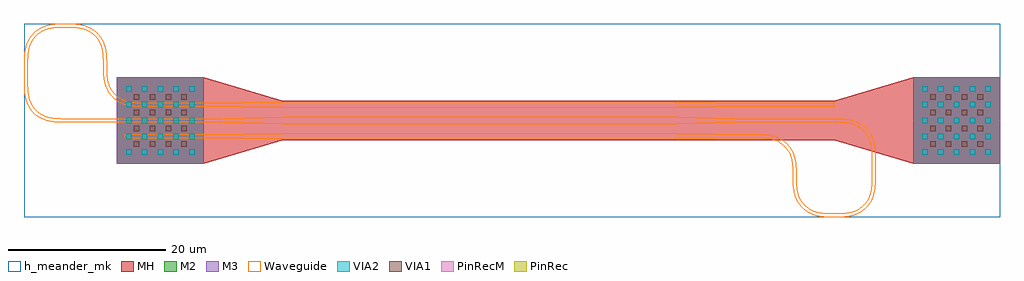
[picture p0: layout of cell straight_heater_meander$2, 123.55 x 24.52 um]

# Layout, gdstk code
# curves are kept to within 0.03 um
import gdstk
lib = gdstk.Library(unit=1e-6, precision=1e-09)
def R(c, l, rs):  # rectangles x0, y0, x1, y1
    for r in rs: c.add(gdstk.rectangle(r[:2], r[2:], *l))
def P(c, l, *ps):  # polygons
    for p in ps: c.add(gdstk.Polygon(p, *l))
Waveguide = (1, 0)
PinRec = (1, 10)
PinRecM = (1, 11)
VIA2 = (43, 0)
VIA1 = (44, 0)
M2 = (45, 0)
MH = (47, 0)
h_meander_mk = (47, 4)
M3 = (49, 0)

straight_heater_meander_ = lib.new_cell('straight_heater_meander$2')
R(straight_heater_meander_, Waveguide, [(69.788,-10.26,69.798,-9.76), (69.788,-10.26,69.798,-9.76), (69.788,-10.26,69.798,-9.76), (64.538,-5.01,65.038,-5), (64.538,-5.01,65.038,-5), (64.538,-5.01,65.038,-5), (74.548,-5.01,75.048,-3), (74.548,-5.01,75.048,-3), (74.548,-5.01,75.048,-3), (0,-0.4,49.778,0.4), (0,-0.4,49.778,0.4), (0,-0.4,49.778,0.4), (-20,-0.25,-10,0.25), (-20,-0.25,-10,0.25), (-20,-0.25,-10,0.25), (59.778,-0.25,59.788,0.25), (59.778,-0.25,59.788,0.25), (59.778,-0.25,59.788,0.25), (0,1.55,49.778,2.45), (0,1.55,49.778,2.45), (0,1.55,49.778,2.45), (-27.52,1.75,-17.5,2.25), (-27.52,1.75,-17.5,2.25), (-27.52,1.75,-17.5,2.25), (-17.5,1.75,-10,2.25), (-17.5,1.75,-10,2.25), (-17.5,1.75,-10,2.25), (59.778,1.75,69.798,2.25), (59.778,1.75,69.798,2.25), (59.778,1.75,69.798,2.25), (0,3.6,49.778,4.4), (0,3.6,49.778,4.4), (0,3.6,49.778,4.4), (-17.51,3.75,-17.5,4.25), (-17.51,3.75,-17.5,4.25), (-17.51,3.75,-17.5,4.25), (-17.5,3.75,-10,4.25), (-17.5,3.75,-10,4.25), (-17.5,3.75,-10,4.25), (59.778,3.75,69.778,4.25), (59.778,3.75,69.778,4.25), (59.778,3.75,69.778,4.25), (-32.77,7,-32.27,9.01), (-32.77,7,-32.27,9.01), (-32.77,7,-32.27,9.01), (-22.76,9,-22.26,9.01), (-22.76,9,-22.26,9.01), (-22.76,9,-22.26,9.01), (-27.52,13.76,-27.51,14.26), (-27.52,13.76,-27.51,14.26), (-27.52,13.76,-27.51,14.26)])
P(straight_heater_meander_, Waveguide, [(0,-0.4),(-10,-0.25),(-10,0.25),(0,0.4)],
  [(49.778,-0.4),(49.778,0.4),(59.778,0.25),(59.778,-0.25)],
  [(0,1.55),(-10,1.75),(-10,2.25),(0,2.45)],
  [(49.778,1.55),(49.778,2.45),(59.778,2.25),(59.778,1.75)],
  [(0,3.6),(-10,3.75),(-10,4.25),(0,4.4)],
  [(49.778,3.6),(49.778,4.4),(59.778,4.25),(59.778,3.75)],
  [(-27.798,1.75),(-29.073,1.812),(-30.068,2.025),(-30.497,2.194),(-30.931,2.432),(-31.573,2.947),(-31.899,3.319),(-32.174,3.73),(-32.538,4.592),(-32.724,5.591),(-32.77,7),(-32.27,7),(-32.238,5.773),(-32.093,4.858),(-31.809,4.106),(-31.318,3.405),(-30.661,2.854),(-30.285,2.648),(-29.788,2.462),(-28.881,2.294),(-27.52,2.25),(-27.52,1.75)],
  [(-32.77,9.01),(-32.724,10.419),(-32.538,11.418),(-32.174,12.28),(-31.899,12.691),(-31.573,13.063),(-31.201,13.389),(-30.79,13.664),(-29.928,14.028),(-28.929,14.214),(-27.52,14.26),(-27.52,13.76),(-28.881,13.716),(-29.788,13.548),(-30.54,13.23),(-31.219,12.709),(-31.74,12.03),(-32.058,11.278),(-32.226,10.371),(-32.27,9.01)],
  [(-22.76,9.01),(-22.792,10.237),(-22.937,11.152),(-23.221,11.904),(-23.712,12.605),(-24.369,13.156),(-24.745,13.362),(-25.242,13.548),(-26.149,13.716),(-27.51,13.76),(-27.51,14.26),(-26.101,14.214),(-25.527,14.131),(-24.962,13.985),(-24.533,13.816),(-24.099,13.578),(-23.7,13.285),(-23.344,12.943),(-22.942,12.421),(-22.704,11.987),(-22.492,11.418),(-22.34,10.705),(-22.276,9.992),(-22.26,9.01)],
  [(-17.788,3.75),(-19.063,3.812),(-20.058,4.025),(-20.487,4.194),(-20.921,4.432),(-21.563,4.947),(-21.889,5.319),(-22.164,5.73),(-22.528,6.592),(-22.714,7.591),(-22.76,9),(-22.26,9),(-22.228,7.773),(-22.083,6.858),(-21.799,6.106),(-21.308,5.405),(-20.651,4.854),(-20.275,4.648),(-19.778,4.462),(-18.871,4.294),(-17.51,4.25),(-17.51,3.75)],
  [(74.548,-3),(74.516,-1.773),(74.371,-0.858),(74.087,-0.106),(73.596,0.595),(72.939,1.146),(72.563,1.352),(72.066,1.538),(71.159,1.706),(69.798,1.75),(69.798,2.25),(71.207,2.204),(71.781,2.121),(72.346,1.975),(72.775,1.806),(73.209,1.568),(73.608,1.275),(73.964,0.933),(74.366,0.411),(74.604,-0.023),(74.816,-0.592),(74.968,-1.305),(75.032,-2.018),(75.048,-3)],
  [(69.798,-10.26),(69.798,-9.76),(71.159,-9.716),(72.066,-9.548),(72.818,-9.23),(73.497,-8.709),(74.018,-8.03),(74.336,-7.278),(74.504,-6.371),(74.548,-5.01),(75.048,-5.01),(75.002,-6.419),(74.816,-7.418),(74.452,-8.28),(74.177,-8.691),(73.851,-9.063),(73.479,-9.389),(73.068,-9.664),(72.206,-10.028),(71.207,-10.214)],
  [(69.51,-10.26),(68.235,-10.198),(67.24,-9.985),(66.811,-9.816),(66.377,-9.578),(65.735,-9.063),(65.409,-8.691),(65.134,-8.28),(64.77,-7.418),(64.584,-6.419),(64.538,-5.01),(65.038,-5.01),(65.07,-6.237),(65.215,-7.152),(65.499,-7.904),(65.99,-8.605),(66.647,-9.156),(67.023,-9.362),(67.52,-9.548),(68.427,-9.716),(69.788,-9.76),(69.788,-10.26)],
  [(64.538,-5),(64.506,-3.773),(64.361,-2.858),(64.077,-2.106),(63.586,-1.405),(62.929,-0.854),(62.553,-0.648),(62.056,-0.462),(61.149,-0.294),(59.788,-0.25),(59.788,0.25),(61.197,0.204),(61.771,0.121),(62.336,-0.025),(62.765,-0.194),(63.199,-0.432),(63.598,-0.725),(63.954,-1.067),(64.356,-1.589),(64.594,-2.023),(64.806,-2.592),(64.958,-3.305),(65.022,-4.018),(65.038,-5)],
  [(0,-0.4),(-10,-0.25),(-10,0.25),(0,0.4)],
  [(49.778,-0.4),(49.778,0.4),(59.778,0.25),(59.778,-0.25)],
  [(0,1.55),(-10,1.75),(-10,2.25),(0,2.45)],
  [(49.778,1.55),(49.778,2.45),(59.778,2.25),(59.778,1.75)],
  [(0,3.6),(-10,3.75),(-10,4.25),(0,4.4)],
  [(49.778,3.6),(49.778,4.4),(59.778,4.25),(59.778,3.75)],
  [(-27.798,1.75),(-29.073,1.812),(-30.068,2.025),(-30.497,2.194),(-30.931,2.432),(-31.573,2.947),(-31.899,3.319),(-32.174,3.73),(-32.538,4.592),(-32.724,5.591),(-32.77,7),(-32.27,7),(-32.238,5.773),(-32.093,4.858),(-31.809,4.106),(-31.318,3.405),(-30.661,2.854),(-30.285,2.648),(-29.788,2.462),(-28.881,2.294),(-27.52,2.25),(-27.52,1.75)],
  [(-32.77,9.01),(-32.724,10.419),(-32.538,11.418),(-32.174,12.28),(-31.899,12.691),(-31.573,13.063),(-31.201,13.389),(-30.79,13.664),(-29.928,14.028),(-28.929,14.214),(-27.52,14.26),(-27.52,13.76),(-28.881,13.716),(-29.788,13.548),(-30.54,13.23),(-31.219,12.709),(-31.74,12.03),(-32.058,11.278),(-32.226,10.371),(-32.27,9.01)],
  [(-22.76,9.01),(-22.792,10.237),(-22.937,11.152),(-23.221,11.904),(-23.712,12.605),(-24.369,13.156),(-24.745,13.362),(-25.242,13.548),(-26.149,13.716),(-27.51,13.76),(-27.51,14.26),(-26.101,14.214),(-25.527,14.131),(-24.962,13.985),(-24.533,13.816),(-24.099,13.578),(-23.7,13.285),(-23.344,12.943),(-22.942,12.421),(-22.704,11.987),(-22.492,11.418),(-22.34,10.705),(-22.276,9.992),(-22.26,9.01)],
  [(-17.788,3.75),(-19.063,3.812),(-20.058,4.025),(-20.487,4.194),(-20.921,4.432),(-21.563,4.947),(-21.889,5.319),(-22.164,5.73),(-22.528,6.592),(-22.714,7.591),(-22.76,9),(-22.26,9),(-22.228,7.773),(-22.083,6.858),(-21.799,6.106),(-21.308,5.405),(-20.651,4.854),(-20.275,4.648),(-19.778,4.462),(-18.871,4.294),(-17.51,4.25),(-17.51,3.75)],
  [(74.548,-3),(74.516,-1.773),(74.371,-0.858),(74.087,-0.106),(73.596,0.595),(72.939,1.146),(72.563,1.352),(72.066,1.538),(71.159,1.706),(69.798,1.75),(69.798,2.25),(71.207,2.204),(71.781,2.121),(72.346,1.975),(72.775,1.806),(73.209,1.568),(73.608,1.275),(73.964,0.933),(74.366,0.411),(74.604,-0.023),(74.816,-0.592),(74.968,-1.305),(75.032,-2.018),(75.048,-3)],
  [(69.798,-10.26),(69.798,-9.76),(71.159,-9.716),(72.066,-9.548),(72.818,-9.23),(73.497,-8.709),(74.018,-8.03),(74.336,-7.278),(74.504,-6.371),(74.548,-5.01),(75.048,-5.01),(75.002,-6.419),(74.816,-7.418),(74.452,-8.28),(74.177,-8.691),(73.851,-9.063),(73.479,-9.389),(73.068,-9.664),(72.206,-10.028),(71.207,-10.214)],
  [(69.51,-10.26),(68.235,-10.198),(67.24,-9.985),(66.811,-9.816),(66.377,-9.578),(65.735,-9.063),(65.409,-8.691),(65.134,-8.28),(64.77,-7.418),(64.584,-6.419),(64.538,-5.01),(65.038,-5.01),(65.07,-6.237),(65.215,-7.152),(65.499,-7.904),(65.99,-8.605),(66.647,-9.156),(67.023,-9.362),(67.52,-9.548),(68.427,-9.716),(69.788,-9.76),(69.788,-10.26)],
  [(64.538,-5),(64.506,-3.773),(64.361,-2.858),(64.077,-2.106),(63.586,-1.405),(62.929,-0.854),(62.553,-0.648),(62.056,-0.462),(61.149,-0.294),(59.788,-0.25),(59.788,0.25),(61.197,0.204),(61.771,0.121),(62.336,-0.025),(62.765,-0.194),(63.199,-0.432),(63.598,-0.725),(63.954,-1.067),(64.356,-1.589),(64.594,-2.023),(64.806,-2.592),(64.958,-3.305),(65.022,-4.018),(65.038,-5)],
  [(0,-0.4),(-10,-0.25),(-10,0.25),(0,0.4)],
  [(49.778,-0.4),(49.778,0.4),(59.778,0.25),(59.778,-0.25)],
  [(0,1.55),(-10,1.75),(-10,2.25),(0,2.45)],
  [(49.778,1.55),(49.778,2.45),(59.778,2.25),(59.778,1.75)],
  [(0,3.6),(-10,3.75),(-10,4.25),(0,4.4)],
  [(49.778,3.6),(49.778,4.4),(59.778,4.25),(59.778,3.75)],
  [(-27.798,1.75),(-29.073,1.812),(-30.068,2.025),(-30.497,2.194),(-30.931,2.432),(-31.573,2.947),(-31.899,3.319),(-32.174,3.73),(-32.538,4.592),(-32.724,5.591),(-32.77,7),(-32.27,7),(-32.238,5.773),(-32.093,4.858),(-31.809,4.106),(-31.318,3.405),(-30.661,2.854),(-30.285,2.648),(-29.788,2.462),(-28.881,2.294),(-27.52,2.25),(-27.52,1.75)],
  [(-32.77,9.01),(-32.724,10.419),(-32.538,11.418),(-32.174,12.28),(-31.899,12.691),(-31.573,13.063),(-31.201,13.389),(-30.79,13.664),(-29.928,14.028),(-28.929,14.214),(-27.52,14.26),(-27.52,13.76),(-28.881,13.716),(-29.788,13.548),(-30.54,13.23),(-31.219,12.709),(-31.74,12.03),(-32.058,11.278),(-32.226,10.371),(-32.27,9.01)],
  [(-22.76,9.01),(-22.792,10.237),(-22.937,11.152),(-23.221,11.904),(-23.712,12.605),(-24.369,13.156),(-24.745,13.362),(-25.242,13.548),(-26.149,13.716),(-27.51,13.76),(-27.51,14.26),(-26.101,14.214),(-25.527,14.131),(-24.962,13.985),(-24.533,13.816),(-24.099,13.578),(-23.7,13.285),(-23.344,12.943),(-22.942,12.421),(-22.704,11.987),(-22.492,11.418),(-22.34,10.705),(-22.276,9.992),(-22.26,9.01)],
  [(-17.788,3.75),(-19.063,3.812),(-20.058,4.025),(-20.487,4.194),(-20.921,4.432),(-21.563,4.947),(-21.889,5.319),(-22.164,5.73),(-22.528,6.592),(-22.714,7.591),(-22.76,9),(-22.26,9),(-22.228,7.773),(-22.083,6.858),(-21.799,6.106),(-21.308,5.405),(-20.651,4.854),(-20.275,4.648),(-19.778,4.462),(-18.871,4.294),(-17.51,4.25),(-17.51,3.75)],
  [(74.548,-3),(74.516,-1.773),(74.371,-0.858),(74.087,-0.106),(73.596,0.595),(72.939,1.146),(72.563,1.352),(72.066,1.538),(71.159,1.706),(69.798,1.75),(69.798,2.25),(71.207,2.204),(71.781,2.121),(72.346,1.975),(72.775,1.806),(73.209,1.568),(73.608,1.275),(73.964,0.933),(74.366,0.411),(74.604,-0.023),(74.816,-0.592),(74.968,-1.305),(75.032,-2.018),(75.048,-3)],
  [(69.798,-10.26),(69.798,-9.76),(71.159,-9.716),(72.066,-9.548),(72.818,-9.23),(73.497,-8.709),(74.018,-8.03),(74.336,-7.278),(74.504,-6.371),(74.548,-5.01),(75.048,-5.01),(75.002,-6.419),(74.816,-7.418),(74.452,-8.28),(74.177,-8.691),(73.851,-9.063),(73.479,-9.389),(73.068,-9.664),(72.206,-10.028),(71.207,-10.214)],
  [(69.51,-10.26),(68.235,-10.198),(67.24,-9.985),(66.811,-9.816),(66.377,-9.578),(65.735,-9.063),(65.409,-8.691),(65.134,-8.28),(64.77,-7.418),(64.584,-6.419),(64.538,-5.01),(65.038,-5.01),(65.07,-6.237),(65.215,-7.152),(65.499,-7.904),(65.99,-8.605),(66.647,-9.156),(67.023,-9.362),(67.52,-9.548),(68.427,-9.716),(69.788,-9.76),(69.788,-10.26)],
  [(64.538,-5),(64.506,-3.773),(64.361,-2.858),(64.077,-2.106),(63.586,-1.405),(62.929,-0.854),(62.553,-0.648),(62.056,-0.462),(61.149,-0.294),(59.788,-0.25),(59.788,0.25),(61.197,0.204),(61.771,0.121),(62.336,-0.025),(62.765,-0.194),(63.199,-0.432),(63.598,-0.725),(63.954,-1.067),(64.356,-1.589),(64.594,-2.023),(64.806,-2.592),(64.958,-3.305),(65.022,-4.018),(65.038,-5)])
R(straight_heater_meander_, PinRec, [(-20,-0.01,-19.98,0.01), (69.758,3.99,69.778,4.01)])
R(straight_heater_meander_, PinRecM, [(-15.51,-3.5,-15.49,-3.48), (85.268,-3.5,85.288,-3.48), (-21,1.99,-20.98,2.01), (-10.02,1.99,-10,2.01), (79.778,1.99,79.798,2.01), (90.758,1.99,90.778,2.01), (-15.51,7.48,-15.49,7.5), (85.268,7.48,85.288,7.5)])
R(straight_heater_meander_, VIA2, [(-19.85,-2.35,-19.15,-1.65), (-19.85,-2.35,-19.15,-1.65), (-19.85,-2.35,-19.15,-1.65), (-17.85,-2.35,-17.15,-1.65), (-17.85,-2.35,-17.15,-1.65), (-17.85,-2.35,-17.15,-1.65), (-15.85,-2.35,-15.15,-1.65), (-15.85,-2.35,-15.15,-1.65), (-15.85,-2.35,-15.15,-1.65), (-13.85,-2.35,-13.15,-1.65), (-13.85,-2.35,-13.15,-1.65), (-13.85,-2.35,-13.15,-1.65), (-11.85,-2.35,-11.15,-1.65), (-11.85,-2.35,-11.15,-1.65), (-11.85,-2.35,-11.15,-1.65), (80.928,-2.35,81.628,-1.65), (80.928,-2.35,81.628,-1.65), (80.928,-2.35,81.628,-1.65), (82.928,-2.35,83.628,-1.65), (82.928,-2.35,83.628,-1.65), (82.928,-2.35,83.628,-1.65), (84.928,-2.35,85.628,-1.65), (84.928,-2.35,85.628,-1.65), (84.928,-2.35,85.628,-1.65), (86.928,-2.35,87.628,-1.65), (86.928,-2.35,87.628,-1.65), (86.928,-2.35,87.628,-1.65), (88.928,-2.35,89.628,-1.65), (88.928,-2.35,89.628,-1.65), (88.928,-2.35,89.628,-1.65), (-19.85,-0.35,-19.15,0.35), (-19.85,-0.35,-19.15,0.35), (-19.85,-0.35,-19.15,0.35), (-17.85,-0.35,-17.15,0.35), (-17.85,-0.35,-17.15,0.35), (-17.85,-0.35,-17.15,0.35), (-15.85,-0.35,-15.15,0.35), (-15.85,-0.35,-15.15,0.35), (-15.85,-0.35,-15.15,0.35), (-13.85,-0.35,-13.15,0.35), (-13.85,-0.35,-13.15,0.35), (-13.85,-0.35,-13.15,0.35), (-11.85,-0.35,-11.15,0.35), (-11.85,-0.35,-11.15,0.35), (-11.85,-0.35,-11.15,0.35), (80.928,-0.35,81.628,0.35), (80.928,-0.35,81.628,0.35), (80.928,-0.35,81.628,0.35), (82.928,-0.35,83.628,0.35), (82.928,-0.35,83.628,0.35), (82.928,-0.35,83.628,0.35), (84.928,-0.35,85.628,0.35), (84.928,-0.35,85.628,0.35), (84.928,-0.35,85.628,0.35), (86.928,-0.35,87.628,0.35), (86.928,-0.35,87.628,0.35), (86.928,-0.35,87.628,0.35), (88.928,-0.35,89.628,0.35), (88.928,-0.35,89.628,0.35), (88.928,-0.35,89.628,0.35), (-19.85,1.65,-19.15,2.35), (-19.85,1.65,-19.15,2.35), (-19.85,1.65,-19.15,2.35), (-17.85,1.65,-17.15,2.35), (-17.85,1.65,-17.15,2.35), (-17.85,1.65,-17.15,2.35), (-15.85,1.65,-15.15,2.35), (-15.85,1.65,-15.15,2.35), (-15.85,1.65,-15.15,2.35), (-13.85,1.65,-13.15,2.35), (-13.85,1.65,-13.15,2.35), (-13.85,1.65,-13.15,2.35), (-11.85,1.65,-11.15,2.35), (-11.85,1.65,-11.15,2.35), (-11.85,1.65,-11.15,2.35), (80.928,1.65,81.628,2.35), (80.928,1.65,81.628,2.35), (80.928,1.65,81.628,2.35), (82.928,1.65,83.628,2.35), (82.928,1.65,83.628,2.35), (82.928,1.65,83.628,2.35), (84.928,1.65,85.628,2.35), (84.928,1.65,85.628,2.35), (84.928,1.65,85.628,2.35), (86.928,1.65,87.628,2.35), (86.928,1.65,87.628,2.35), (86.928,1.65,87.628,2.35), (88.928,1.65,89.628,2.35), (88.928,1.65,89.628,2.35), (88.928,1.65,89.628,2.35), (-19.85,3.65,-19.15,4.35), (-19.85,3.65,-19.15,4.35), (-19.85,3.65,-19.15,4.35), (-17.85,3.65,-17.15,4.35), (-17.85,3.65,-17.15,4.35), (-17.85,3.65,-17.15,4.35), (-15.85,3.65,-15.15,4.35), (-15.85,3.65,-15.15,4.35), (-15.85,3.65,-15.15,4.35), (-13.85,3.65,-13.15,4.35), (-13.85,3.65,-13.15,4.35), (-13.85,3.65,-13.15,4.35), (-11.85,3.65,-11.15,4.35), (-11.85,3.65,-11.15,4.35), (-11.85,3.65,-11.15,4.35), (80.928,3.65,81.628,4.35), (80.928,3.65,81.628,4.35), (80.928,3.65,81.628,4.35), (82.928,3.65,83.628,4.35), (82.928,3.65,83.628,4.35), (82.928,3.65,83.628,4.35), (84.928,3.65,85.628,4.35), (84.928,3.65,85.628,4.35), (84.928,3.65,85.628,4.35), (86.928,3.65,87.628,4.35), (86.928,3.65,87.628,4.35), (86.928,3.65,87.628,4.35), (88.928,3.65,89.628,4.35), (88.928,3.65,89.628,4.35), (88.928,3.65,89.628,4.35), (-19.85,5.65,-19.15,6.35), (-19.85,5.65,-19.15,6.35), (-19.85,5.65,-19.15,6.35), (-17.85,5.65,-17.15,6.35), (-17.85,5.65,-17.15,6.35), (-17.85,5.65,-17.15,6.35), (-15.85,5.65,-15.15,6.35), (-15.85,5.65,-15.15,6.35), (-15.85,5.65,-15.15,6.35), (-13.85,5.65,-13.15,6.35), (-13.85,5.65,-13.15,6.35), (-13.85,5.65,-13.15,6.35), (-11.85,5.65,-11.15,6.35), (-11.85,5.65,-11.15,6.35), (-11.85,5.65,-11.15,6.35), (80.928,5.65,81.628,6.35), (80.928,5.65,81.628,6.35), (80.928,5.65,81.628,6.35), (82.928,5.65,83.628,6.35), (82.928,5.65,83.628,6.35), (82.928,5.65,83.628,6.35), (84.928,5.65,85.628,6.35), (84.928,5.65,85.628,6.35), (84.928,5.65,85.628,6.35), (86.928,5.65,87.628,6.35), (86.928,5.65,87.628,6.35), (86.928,5.65,87.628,6.35), (88.928,5.65,89.628,6.35), (88.928,5.65,89.628,6.35), (88.928,5.65,89.628,6.35)])
R(straight_heater_meander_, VIA1, [(-18.85,-1.35,-18.15,-0.65), (-18.85,-1.35,-18.15,-0.65), (-18.85,-1.35,-18.15,-0.65), (-16.85,-1.35,-16.15,-0.65), (-16.85,-1.35,-16.15,-0.65), (-16.85,-1.35,-16.15,-0.65), (-14.85,-1.35,-14.15,-0.65), (-14.85,-1.35,-14.15,-0.65), (-14.85,-1.35,-14.15,-0.65), (-12.85,-1.35,-12.15,-0.65), (-12.85,-1.35,-12.15,-0.65), (-12.85,-1.35,-12.15,-0.65), (81.928,-1.35,82.628,-0.65), (81.928,-1.35,82.628,-0.65), (81.928,-1.35,82.628,-0.65), (83.928,-1.35,84.628,-0.65), (83.928,-1.35,84.628,-0.65), (83.928,-1.35,84.628,-0.65), (85.928,-1.35,86.628,-0.65), (85.928,-1.35,86.628,-0.65), (85.928,-1.35,86.628,-0.65), (87.928,-1.35,88.628,-0.65), (87.928,-1.35,88.628,-0.65), (87.928,-1.35,88.628,-0.65), (-18.85,0.65,-18.15,1.35), (-18.85,0.65,-18.15,1.35), (-18.85,0.65,-18.15,1.35), (-16.85,0.65,-16.15,1.35), (-16.85,0.65,-16.15,1.35), (-16.85,0.65,-16.15,1.35), (-14.85,0.65,-14.15,1.35), (-14.85,0.65,-14.15,1.35), (-14.85,0.65,-14.15,1.35), (-12.85,0.65,-12.15,1.35), (-12.85,0.65,-12.15,1.35), (-12.85,0.65,-12.15,1.35), (81.928,0.65,82.628,1.35), (81.928,0.65,82.628,1.35), (81.928,0.65,82.628,1.35), (83.928,0.65,84.628,1.35), (83.928,0.65,84.628,1.35), (83.928,0.65,84.628,1.35), (85.928,0.65,86.628,1.35), (85.928,0.65,86.628,1.35), (85.928,0.65,86.628,1.35), (87.928,0.65,88.628,1.35), (87.928,0.65,88.628,1.35), (87.928,0.65,88.628,1.35), (-18.85,2.65,-18.15,3.35), (-18.85,2.65,-18.15,3.35), (-18.85,2.65,-18.15,3.35), (-16.85,2.65,-16.15,3.35), (-16.85,2.65,-16.15,3.35), (-16.85,2.65,-16.15,3.35), (-14.85,2.65,-14.15,3.35), (-14.85,2.65,-14.15,3.35), (-14.85,2.65,-14.15,3.35), (-12.85,2.65,-12.15,3.35), (-12.85,2.65,-12.15,3.35), (-12.85,2.65,-12.15,3.35), (81.928,2.65,82.628,3.35), (81.928,2.65,82.628,3.35), (81.928,2.65,82.628,3.35), (83.928,2.65,84.628,3.35), (83.928,2.65,84.628,3.35), (83.928,2.65,84.628,3.35), (85.928,2.65,86.628,3.35), (85.928,2.65,86.628,3.35), (85.928,2.65,86.628,3.35), (87.928,2.65,88.628,3.35), (87.928,2.65,88.628,3.35), (87.928,2.65,88.628,3.35), (-18.85,4.65,-18.15,5.35), (-18.85,4.65,-18.15,5.35), (-18.85,4.65,-18.15,5.35), (-16.85,4.65,-16.15,5.35), (-16.85,4.65,-16.15,5.35), (-16.85,4.65,-16.15,5.35), (-14.85,4.65,-14.15,5.35), (-14.85,4.65,-14.15,5.35), (-14.85,4.65,-14.15,5.35), (-12.85,4.65,-12.15,5.35), (-12.85,4.65,-12.15,5.35), (-12.85,4.65,-12.15,5.35), (81.928,4.65,82.628,5.35), (81.928,4.65,82.628,5.35), (81.928,4.65,82.628,5.35), (83.928,4.65,84.628,5.35), (83.928,4.65,84.628,5.35), (83.928,4.65,84.628,5.35), (85.928,4.65,86.628,5.35), (85.928,4.65,86.628,5.35), (85.928,4.65,86.628,5.35), (87.928,4.65,88.628,5.35), (87.928,4.65,88.628,5.35), (87.928,4.65,88.628,5.35)])
R(straight_heater_meander_, M2, [(-21,-3.5,-10,7.5), (-21,-3.5,-10,7.5), (-21,-3.5,-10,7.5), (79.778,-3.5,90.778,7.5), (79.778,-3.5,90.778,7.5), (79.778,-3.5,90.778,7.5)])
R(straight_heater_meander_, MH, [(-21,-3.5,-10,7.5), (-21,-3.5,-10,7.5), (-21,-3.5,-10,7.5), (79.778,-3.5,90.778,7.5), (79.778,-3.5,90.778,7.5), (79.778,-3.5,90.778,7.5), (0,-0.5,69.778,4.5), (0,-0.5,69.778,4.5), (0,-0.5,69.778,4.5)])
P(straight_heater_meander_, MH, [(-10,-3.5),(-10,7.5),(0,4.5),(0,-0.5)],
  [(79.778,-3.5),(69.778,-0.5),(69.778,4.5),(79.778,7.5)],
  [(-10,-3.5),(-10,7.5),(0,4.5),(0,-0.5)],
  [(79.778,-3.5),(69.778,-0.5),(69.778,4.5),(79.778,7.5)],
  [(-10,-3.5),(-10,7.5),(0,4.5),(0,-0.5)],
  [(79.778,-3.5),(69.778,-0.5),(69.778,4.5),(79.778,7.5)])
R(straight_heater_meander_, h_meander_mk, [(-32.77,-10.26,90.778,14.26)])
R(straight_heater_meander_, M3, [(-21,-3.5,-10,7.5), (-21,-3.5,-10,7.5), (-21,-3.5,-10,7.5), (79.778,-3.5,90.778,7.5), (79.778,-3.5,90.778,7.5), (79.778,-3.5,90.778,7.5)])

lib.write_gds('straight_heater_meander_2.gds')
